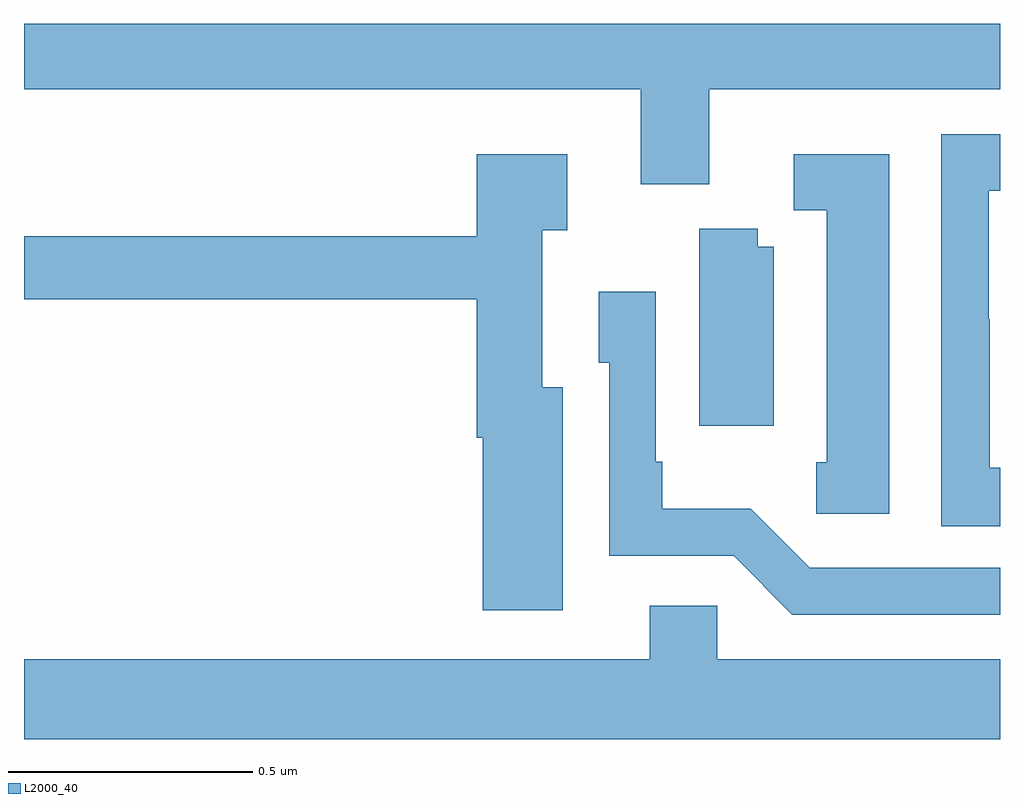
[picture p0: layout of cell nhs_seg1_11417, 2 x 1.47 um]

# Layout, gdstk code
import gdstk
lib = gdstk.Library(unit=1e-6, precision=1e-09)
def P(c, l, *ps):  # polygons
    for p in ps: c.add(gdstk.Polygon(p, *l))
L2000_40 = (2000, 40)

nhs_seg1_11417 = lib.new_cell('nhs_seg1_11417')
P(nhs_seg1_11417, L2000_40, [(254.404,553.064),(255,553.064),(255,553.199),(253,553.199),(253,553.064),(254.264,553.064),(254.264,552.87),(254.404,552.87)],
  [(255,552.289),(254.979,552.289),(254.979,552.593),(254.977,552.593),(254.977,552.856),(255,552.856),(255,552.972),(254.88,552.972),(254.88,552.169),(255,552.169)],
  [(254.104,552.454),(254.062,552.454),(254.062,552.775),(254.113,552.775),(254.113,552.931),(253.928,552.931),(253.928,552.763),(253,552.763),(253,552.634),(253.928,552.634),(253.928,552.35),(253.94,552.35),(253.94,551.997),(254.104,551.997)],
  [(254.773,552.931),(254.577,552.931),(254.577,552.816),(254.645,552.816),(254.645,552.3),(254.623,552.3),(254.623,552.195),(254.773,552.195)],
  [(254.536,552.742),(254.504,552.742),(254.504,552.779),(254.384,552.779),(254.384,552.375),(254.536,552.375)],
  [(255,552.084),(254.61,552.084),(254.489,552.205),(254.308,552.205),(254.308,552.301),(254.295,552.301),(254.295,552.649),(254.178,552.649),(254.178,552.504),(254.199,552.504),(254.199,552.108),(254.454,552.108),(254.574,551.988),(255,551.988)],
  [(255,551.896),(254.421,551.896),(254.421,552.006),(254.282,552.006),(254.282,551.896),(253,551.896),(253,551.732),(255,551.732)])

lib.write_gds('nhs_seg1_11417.gds')
